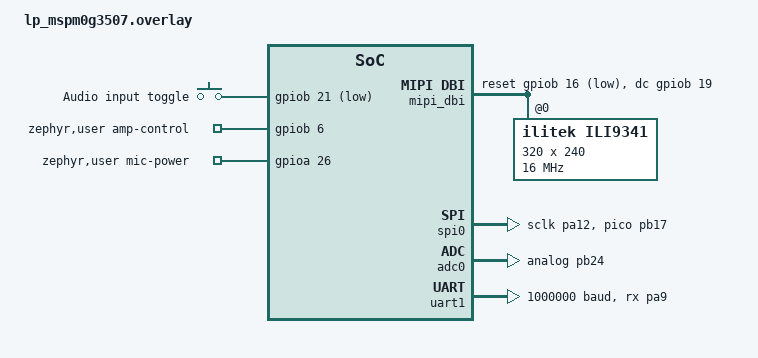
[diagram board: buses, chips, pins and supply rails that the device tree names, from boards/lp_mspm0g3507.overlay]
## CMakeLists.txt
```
# Copyright (c) 2026 Yuancheng Li
# SPDX-License-Identifier: Apache-2.0

cmake_minimum_required(VERSION 3.20.0)

find_package(Zephyr REQUIRED HINTS $ENV{ZEPHYR_BASE})
project(zephyr_audio_analyzer)

target_include_directories(app PRIVATE src)

target_sources(app PRIVATE
  src/main.c
  src/features/audio_analysis/audio_analysis.c
  src/features/audio_input/audio_input.c
  src/features/audio_input_control/audio_input_control.c
  src/features/audio_input/audio_stream_mic/audio_stream_mic.c
  src/features/audio_input/audio_stream_uart/audio_stream_uart.c
  src/features/audio_passthrough/audio_passthrough.c
  src/features/audio_playback/audio_playback.c
  src/features/display_msg/display_msg.c
  src/features/display_startup/display_startup.c
  src/features/display_spectrum/display_spectrum.c
  src/features/display_spectrum/spectrum_scaling/spectrum_scaling.c
)
```

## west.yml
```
manifest:
  remotes:
    - name: zephyrproject-rtos
      url-base: https://github.com/zephyrproject-rtos
  
  projects:
    - name: zephyr
      remote: zephyrproject-rtos
      revision: main
      import: true

  self:
    path: app
```

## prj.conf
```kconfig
#
# Copyright (c) 2026 Yuancheng Li
# SPDX-License-Identifier: Apache-2.0
#

CONFIG_ADC=y
CONFIG_DAC=y
CONFIG_SENSOR=y
CONFIG_GPIO=y
CONFIG_SERIAL=y
CONFIG_UART_INTERRUPT_DRIVEN=y
CONFIG_SPI=y
CONFIG_DISPLAY=y
CONFIG_MIPI_DBI=y
CONFIG_MIPI_DBI_SPI=y

CONFIG_MAIN_STACK_SIZE=1024
CONFIG_SPEED_OPTIMIZATIONS=y
```

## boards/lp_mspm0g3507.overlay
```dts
/*
 * Copyright (c) 2026 Yuancheng Li
 * SPDX-License-Identifier: Apache-2.0
 */

#include <zephyr/dt-bindings/adc/adc.h>
#include <zephyr/dt-bindings/clock/mspm0_clock.h>
#include <zephyr/dt-bindings/display/panel.h>
#include <zephyr/dt-bindings/gpio/gpio.h>

/ {
	chosen {
		zephyr,display = &ili9341;
		zephyr,audio-uart = &uart1;
	};

	buttons {
		compatible = "gpio-keys";

		audio_input_toggle_button: audio_input_toggle_button {
			gpios = <&gpiob 21 (GPIO_ACTIVE_LOW | GPIO_PULL_UP)>;
			label = "Audio input toggle";
		};
	};

	aliases {
		audio-input-toggle-button = &audio_input_toggle_button;
	};

	zephyr,user {
		amp-control-gpios = <&gpiob 6 GPIO_ACTIVE_HIGH>;
		mic-power-gpios = <&gpioa 26 GPIO_ACTIVE_HIGH>;
	};

	/*
	 * ILI9341 SPI LCD on SPI0:
	 * SCK=PA12, MOSI/PICO=PB17, CS=PA8.
	 * Control pins: D/C=PB19, RESET=PB16. BACKLIGHT is tied to 3.3V.
	 */
	mipi_dbi {
		compatible = "zephyr,mipi-dbi-spi";
		dc-gpios = <&gpiob 19 GPIO_ACTIVE_HIGH>;
		reset-gpios = <&gpiob 16 GPIO_ACTIVE_LOW>;
		spi-dev = <&spi0>;
		write-only;
		#address-cells = <1>;
		#size-cells = <0>;

		ili9341: ili9341@0 {
			compatible = "ilitek,ili9341";
			reg = <0>;
			mipi-max-frequency = <16000000>;
			mipi-cpol;
			mipi-cpha;
			pixel-format = <PANEL_PIXEL_FORMAT_RGB_565>;
			rotation = <90>;
			h-mirror;
			width = <320>;
			height = <240>;
		};
	};
};

/* PA12 is reassigned from CAN TX to SPI0 SCK for the LCD. */
&canfd0 {
	status = "disabled";
};

/* Board DTS maps SPI1 CS to PB6, which this app uses for amp control. */
&spi1 {
	status = "disabled";
};

&spi0 {
	pinctrl-0 = <&spi0_sclk_pa12 &spi0_pico_pb17>;
	pinctrl-names = "default";
	cs-gpios = <&gpioa 8 GPIO_ACTIVE_LOW>;
};

&adc0 {
	status = "okay";
	pinctrl-0 = <&analog_pb24>;
	pinctrl-names = "default";
	clocks = <&ckm MSPM0_CLOCK_MCLK>;
	ti,clk-range = <6>;
	ti,clk-divider = <2>;
	max-result-reg = <4>;
};

&uart1 {
	status = "okay";
	current-speed = <1000000>;
	pinctrl-0 = <&uart1_rx_pa9>;
	pinctrl-names = "default";
};
```

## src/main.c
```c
/*
 * Copyright (c) 2026 Yuancheng Li
 * SPDX-License-Identifier: Apache-2.0
 */

#include <zephyr/kernel.h>
#include <zephyr/sys/printk.h>

#include "features/audio_analysis/audio_analysis.h"
#include "features/audio_input/audio_input.h"
#include "features/audio_input_control/audio_input_control.h"
#include "features/audio_passthrough/audio_passthrough.h"
#include "features/audio_playback/audio_playback.h"
#include "features/display_msg/display_msg.h"
#include "features/display_spectrum/display_spectrum.h"
#include "features/display_startup/display_startup.h"

int main(void)
{
	int ret;
	// Init core features
	ret = display_startup_init();
	if (ret != 0)
	{
		printk("Display init failed: %d\n", ret);
		return 0;
	}

	ret = audio_input_init();
	if (ret != 0)
	{
		printk("Audio input init failed: %d\n", ret);
		return 0;
	}

	ret = audio_input_control_init();
	if (ret != 0)
	{
		printk("Audio input control init failed: %d\n", ret);
		return 0;
	}

	ret = audio_playback_init();
	if (ret != 0)
	{
		printk("Audio playback init failed: %d\n", ret);
		return 0;
	}

	printk("Zephyr Audio Analyzer ADC->DAC passthrough with FFT and LCD on %s\n",
		   CONFIG_BOARD_TARGET);

	// Start threads
	ret = display_spectrum_start();
	if (ret != 0)
	{
		printk("Display spectrum start failed: %d\n", ret);
		return 0;
	}

	ret = display_msg_init();
	if (ret != 0)
	{
		printk("Display message init failed: %d\n", ret);
		return 0;
	}

	display_msg_show_input_mode(audio_input_get_mode());

	audio_analysis_start();
	audio_passthrough_start();

	return 0;
}
```
